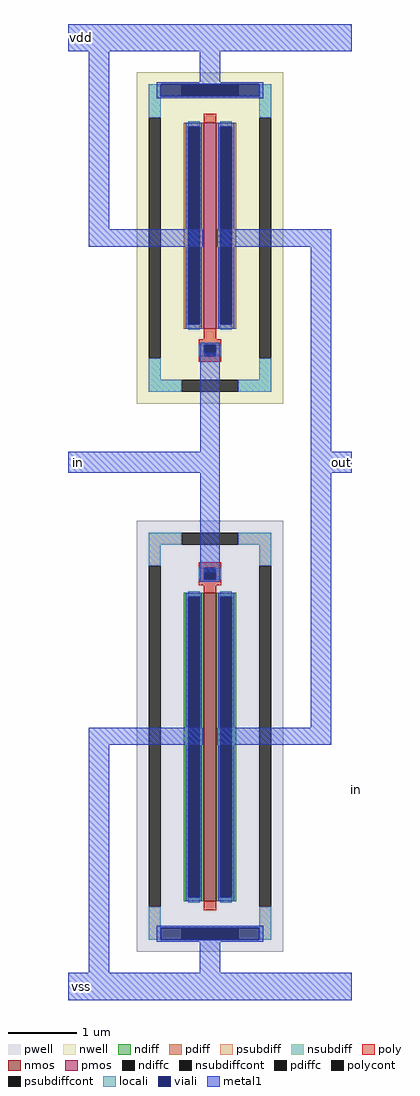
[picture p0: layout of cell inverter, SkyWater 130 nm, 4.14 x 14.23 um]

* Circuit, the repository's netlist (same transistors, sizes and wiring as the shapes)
** sch_path: /home/disha/Desktop/inverter/xschem/inverter.sch
.SUBCKT inverter vdd in out vss
*.PININFO in:I vss:B vdd:B out:O
XM1 out in vdd vdd sky130_fd_pr__pfet_01v8 L=0.18 W=3 nf=3
XM3 out in vss vss sky130_fd_pr__nfet_01v8 L=0.18 W=4.5 nf=3
.ENDS

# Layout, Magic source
magic
tech sky130A
magscale 1 2
<< metal1 >>
rect -414 1997 414 2077
rect -354 1478 -294 1997
rect -30 1902 30 1997
rect -354 1428 -21 1478
rect 21 1428 354 1478
rect -29 829 29 1119
rect -414 769 29 829
rect -29 479 29 769
rect 294 829 354 1428
rect 294 769 414 829
rect 294 25 354 769
rect -354 -25 -21 25
rect 21 -25 354 25
rect -354 -689 -294 -25
rect -30 -689 30 -594
rect -414 -769 414 -689
use sky130_fd_pr__nfet_01v8_QJH2RS  XM1
transform 1 0 0 0 1 0
box -214 -629 214 629
use sky130_fd_pr__pfet_01v8_XNFZ9Q  XM2
transform 1 0 0 0 1 1453
box -214 -484 214 484
<< labels >>
rlabel space 2076 -252 2272 -34 7 out
port 3 w default output
rlabel space 1212 -1400 1408 -1182 1 vss
port 4 n ground bidirectional
rlabel space 312 -264 544 -48 3 in
port 5 e default input
rlabel space 1128 842 1360 1058 5 vdd
port 6 s power bidirectional
rlabel metal1 -414 769 -354 829 7 in
port 5 w
rlabel metal1 354 769 414 829 3 out
port 3 e
rlabel metal1 -414 1997 -334 2077 1 vdd
port 6 n
rlabel metal1 -414 -769 -334 -689 5 vss
port 4 s
<< end >>

# cell sky130_fd_pr__nfet_01v8_QJH2RS: kit device sky130_fd_pr__nfet_01v8, w 4.5 l 0.18 m 1 nf 1 diffcov 100 polycov 100 guard 1 glc 1 grc 1 gtc 1 gbc 1 tbcov 100 rlcov 100 topc 1 botc 0 poverlap 0 doverlap 1 lmin 0.15 wmin 0.42 class mosfet compatible {sky130_fd_pr__nfet_01v8 sky130_fd_pr__nfet_01v8_lvt sky130_fd_bs_flash__special_sonosfet_star sky130_fd_pr__nfet_g5v0d10v5 sky130_fd_pr__nfet_05v0_nvt sky130_fd_pr__nfet_03v3_nvt} full_metal 1 conn_gates 0 viasrc 100 viadrn 100 viagate 100 viagb 100 viagr 0 viagl 0 viagt 0 doports 1

# cell sky130_fd_pr__pfet_01v8_XNFZ9Q: kit device sky130_fd_pr__pfet_01v8, w 3 l 0.18 m 1 nf 1 diffcov 100 polycov 100 guard 1 glc 1 grc 1 gtc 1 gbc 1 tbcov 100 rlcov 100 topc 0 botc 1 poverlap 0 doverlap 1 lmin 0.15 wmin 0.42 class mosfet compatible {sky130_fd_pr__pfet_01v8 sky130_fd_pr__pfet_01v8_lvt sky130_fd_pr__pfet_01v8_hvt sky130_fd_pr__pfet_g5v0d10v5} full_metal 1 conn_gates 0 viasrc 100 viadrn 100 viagate 100 viagb 0 viagr 0 viagl 0 viagt 100 doports 1
